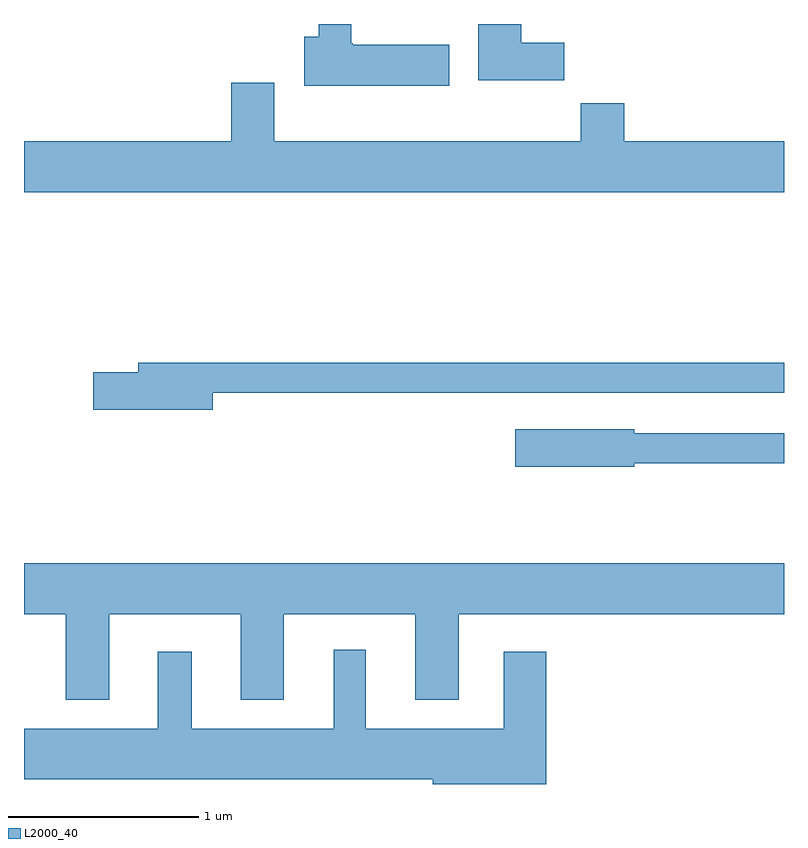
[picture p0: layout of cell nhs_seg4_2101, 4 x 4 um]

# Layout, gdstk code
import gdstk
lib = gdstk.Library(unit=1e-6, precision=1e-09)
def P(c, l, *ps):  # polygons
    for p in ps: c.add(gdstk.Polygon(p, *l))
L2000_40 = (2000, 40)

nhs_seg4_2101 = lib.new_cell('nhs_seg4_2101')
P(nhs_seg4_2101, L2000_40, [(247.849,1379.874),(247.34,1379.874),(247.34,1379.88),(247.334,1379.88),(247.334,1379.982),(247.161,1379.982),(247.161,1379.914),(247.086,1379.914),(247.086,1379.656),(247.849,1379.656)],
  [(248.454,1379.884),(248.229,1379.884),(248.229,1379.982),(248.001,1379.982),(248.001,1379.686),(248.454,1379.686)],
  [(249.611,1379.364),(248.769,1379.364),(248.769,1379.564),(248.541,1379.564),(248.541,1379.364),(246.929,1379.364),(246.929,1379.674),(246.701,1379.674),(246.701,1379.364),(245.611,1379.364),(245.611,1379.096),(249.611,1379.096)],
  [(246.604,1378.041),(249.611,1378.041),(249.611,1378.199),(246.211,1378.199),(246.211,1378.149),(245.976,1378.149),(245.976,1377.951),(246.604,1377.951)],
  [(248.824,1377.671),(249.611,1377.671),(249.611,1377.829),(248.824,1377.829),(248.824,1377.849),(248.196,1377.849),(248.196,1377.651),(248.824,1377.651)],
  [(246.059,1376.876),(246.751,1376.876),(246.751,1376.426),(246.979,1376.426),(246.979,1376.876),(247.671,1376.876),(247.671,1376.426),(247.899,1376.426),(247.899,1376.876),(249.611,1376.876),(249.611,1377.144),(245.611,1377.144),(245.611,1376.876),(245.831,1376.876),(245.831,1376.426),(246.059,1376.426)],
  [(248.359,1376.679),(248.136,1376.679),(248.136,1376.274),(247.409,1376.274),(247.409,1376.688),(247.241,1376.688),(247.241,1376.274),(246.494,1376.274),(246.494,1376.679),(246.316,1376.679),(246.316,1376.274),(245.611,1376.274),(245.611,1376.006),(247.761,1376.006),(247.761,1375.982),(248.359,1375.982)])

lib.write_gds('nhs_seg4_2101.gds')
